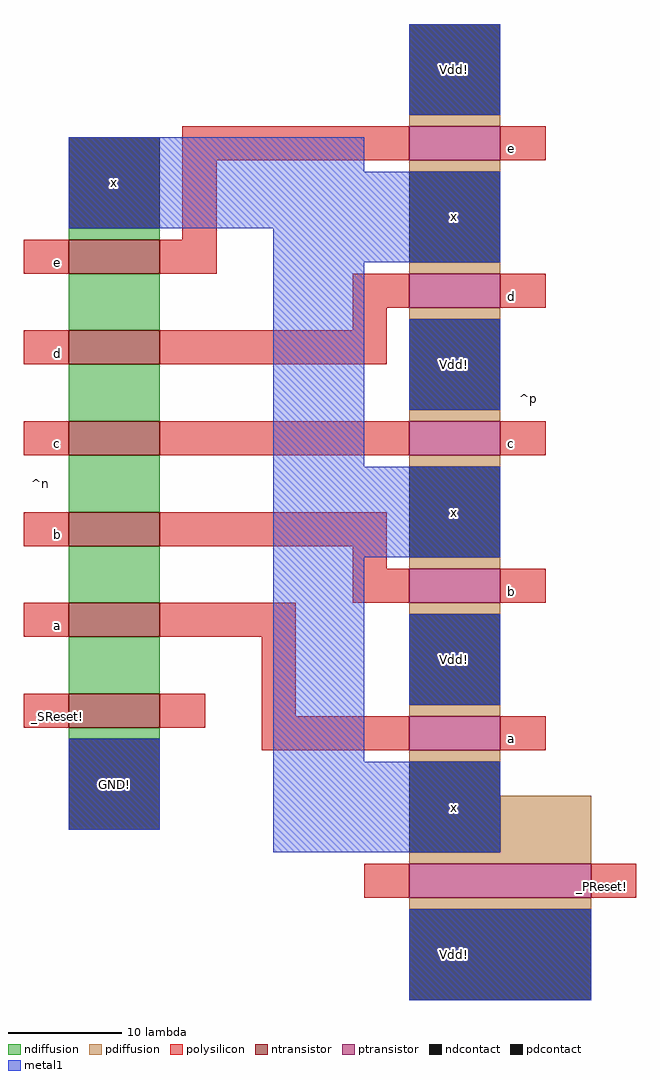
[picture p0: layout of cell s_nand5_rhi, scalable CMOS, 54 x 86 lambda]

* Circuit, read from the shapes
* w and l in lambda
.subckt s_nand5_rhi GND! Vdd! _PReset! _SReset! a b c d e x
M1 n1 _SReset! GND! VSUBS nfet w=8 l=3
M2 n2 a n1 VSUBS nfet w=8 l=3
M3 n3 b n2 VSUBS nfet w=8 l=3
M4 n4 c n3 VSUBS nfet w=8 l=3
M5 n5 d n4 VSUBS nfet w=8 l=3
M6 x e n5 VSUBS nfet w=8 l=3
M7 x _PReset! Vdd! NWELL pfet w=16 l=3
M8 Vdd! a x NWELL pfet w=8 l=3
M9 x b Vdd! NWELL pfet w=8 l=3
M10 Vdd! c x NWELL pfet w=8 l=3
M11 x d Vdd! NWELL pfet w=8 l=3
M12 Vdd! e x NWELL pfet w=8 l=3
.ends

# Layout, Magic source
magic
tech scmos
<< ndiffusion >>
rect -15 90 -7 91
rect -15 82 -7 87
rect -15 74 -7 79
rect -15 66 -7 71
rect -15 58 -7 63
rect -15 50 -7 55
rect -15 46 -7 47
<< pdiffusion >>
rect 15 100 23 101
rect 15 96 23 97
rect 15 87 23 88
rect 15 83 23 84
rect 15 74 23 75
rect 15 70 23 71
rect 15 61 23 62
rect 15 57 23 58
rect 15 48 23 49
rect 15 44 23 45
rect 23 36 31 41
rect 15 35 31 36
rect 15 31 31 32
<< ntransistor >>
rect -15 87 -7 90
rect -15 79 -7 82
rect -15 71 -7 74
rect -15 63 -7 66
rect -15 55 -7 58
rect -15 47 -7 50
<< ptransistor >>
rect 15 97 23 100
rect 15 84 23 87
rect 15 71 23 74
rect 15 58 23 61
rect 15 45 23 48
rect 15 32 31 35
<< polysilicon >>
rect -5 97 15 100
rect 23 97 27 100
rect -5 90 -2 97
rect -19 87 -15 90
rect -7 87 -2 90
rect 10 84 15 87
rect 23 84 27 87
rect 10 82 13 84
rect -19 79 -15 82
rect -7 79 13 82
rect -19 71 -15 74
rect -7 71 15 74
rect 23 71 27 74
rect -19 63 -15 66
rect -7 63 13 66
rect 10 61 13 63
rect 10 58 15 61
rect 23 58 27 61
rect -19 55 -15 58
rect -7 55 5 58
rect -19 47 -15 50
rect -7 47 -3 50
rect 2 48 5 55
rect 2 45 15 48
rect 23 45 27 48
rect 11 32 15 35
rect 31 32 35 35
<< ndcontact >>
rect -15 91 -7 99
rect -15 38 -7 46
<< pdcontact >>
rect 15 101 23 109
rect 15 88 23 96
rect 15 75 23 83
rect 15 62 23 70
rect 15 49 23 57
rect 15 36 23 44
rect 15 23 31 31
<< metal1 >>
rect 15 101 23 109
rect -15 96 11 99
rect -15 91 23 96
rect 3 88 23 91
rect 3 70 11 88
rect 15 75 23 83
rect 3 62 23 70
rect -15 38 -7 46
rect 3 44 11 62
rect 15 49 23 57
rect 3 36 23 44
rect 15 23 31 31
<< labels >>
rlabel metal1 19 40 19 40 1 x
rlabel metal1 19 53 19 53 5 Vdd!
rlabel metal1 19 66 19 66 5 x
rlabel metal1 19 79 19 79 1 Vdd!
rlabel metal1 19 92 19 92 1 x
rlabel metal1 19 105 19 105 5 Vdd!
rlabel polysilicon 24 46 24 46 3 a
rlabel polysilicon 24 59 24 59 3 b
rlabel polysilicon 24 72 24 72 3 c
rlabel polysilicon 24 85 24 85 3 d
rlabel polysilicon 24 98 24 98 3 e
rlabel metal1 19 27 19 27 1 Vdd!
rlabel metal1 -11 42 -11 42 1 GND!
rlabel metal1 -11 95 -11 95 1 x
rlabel polysilicon -16 48 -16 48 3 _SReset!
rlabel polysilicon -16 64 -16 64 3 b
rlabel polysilicon -16 72 -16 72 3 c
rlabel polysilicon -16 80 -16 80 3 d
rlabel polysilicon -16 88 -16 88 3 e
rlabel polysilicon -16 56 -16 56 3 a
rlabel space -20 38 -15 99 7 ^n
rlabel polysilicon 32 33 32 33 1 _PReset!
rlabel space 23 43 28 109 3 ^p
<< end >>
